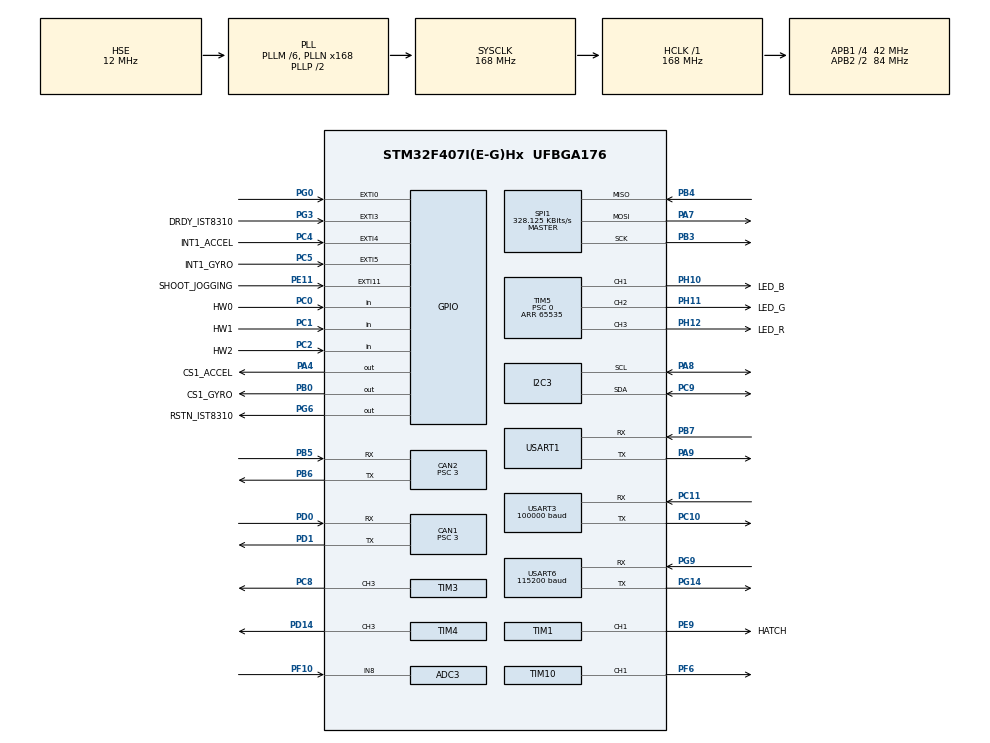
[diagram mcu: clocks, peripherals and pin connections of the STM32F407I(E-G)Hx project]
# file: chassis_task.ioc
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ADC1.Channel-0\#ChannelRegularConversion=ADC_CHANNEL_TEMPSENSOR
ADC1.NbrOfConversionFlag=1
ADC1.Rank-0\#ChannelRegularConversion=1
ADC1.SamplingTime-0\#ChannelRegularConversion=ADC_SAMPLETIME_3CYCLES
ADC1.master=1
ADC3.Channel-0\#ChannelRegularConversion=ADC_CHANNEL_8
ADC3.NbrOfConversionFlag=1
ADC3.Rank-0\#ChannelRegularConversion=1
ADC3.SamplingTime-0\#ChannelRegularConversion=ADC_SAMPLETIME_3CYCLES
CAN1.BS1=CAN_BS1_10TQ
CAN1.BS2=CAN_BS2_3TQ
CAN1.CalculateTimeQuantum=71.42857142857143
CAN1.Prescaler=3
CAN2.BS1=CAN_BS1_10TQ
CAN2.BS2=CAN_BS2_3TQ
CAN2.CalculateTimeQuantum=71.42857142857143
CAN2.Prescaler=3
Dma.Request0=USART3_RX
Dma.Request1=SPI1_RX
Dma.Request2=SPI1_TX
Dma.Request3=USART1_RX
Dma.Request4=USART6_RX
Dma.Request5=USART6_TX
Dma.SPI1_RX.1.Direction=DMA_PERIPH_TO_MEMORY
Dma.SPI1_RX.1.FIFOMode=DMA_FIFOMODE_DISABLE
Dma.SPI1_RX.1.Instance=DMA2_Stream2
Dma.SPI1_RX.1.MemDataAlignment=DMA_MDATAALIGN_BYTE
Dma.SPI1_RX.1.MemInc=DMA_MINC_ENABLE
Dma.SPI1_RX.1.Mode=DMA_NORMAL
Dma.SPI1_RX.1.PeriphDataAlignment=DMA_PDATAALIGN_BYTE
Dma.SPI1_RX.1.PeriphInc=DMA_PINC_DISABLE
Dma.SPI1_RX.1.Priority=DMA_PRIORITY_VERY_HIGH
Dma.SPI1_TX.2.Direction=DMA_MEMORY_TO_PERIPH
Dma.SPI1_TX.2.FIFOMode=DMA_FIFOMODE_DISABLE
Dma.SPI1_TX.2.Instance=DMA2_Stream3
Dma.SPI1_TX.2.MemDataAlignment=DMA_MDATAALIGN_BYTE
Dma.SPI1_TX.2.MemInc=DMA_MINC_ENABLE
Dma.SPI1_TX.2.Mode=DMA_NORMAL
Dma.SPI1_TX.2.PeriphDataAlignment=DMA_PDATAALIGN_BYTE
Dma.SPI1_TX.2.PeriphInc=DMA_PINC_DISABLE
Dma.SPI1_TX.2.Priority=DMA_PRIORITY_HIGH
Dma.USART1_RX.3.Direction=DMA_PERIPH_TO_MEMORY
Dma.USART1_RX.3.FIFOMode=DMA_FIFOMODE_DISABLE
Dma.USART1_RX.3.Instance=DMA2_Stream5
Dma.USART1_RX.3.MemDataAlignment=DMA_MDATAALIGN_BYTE
Dma.USART1_RX.3.MemInc=DMA_MINC_ENABLE
Dma.USART1_RX.3.Mode=DMA_NORMAL
Dma.USART1_RX.3.PeriphDataAlignment=DMA_PDATAALIGN_BYTE
Dma.USART1_RX.3.PeriphInc=DMA_PINC_DISABLE
Dma.USART1_RX.3.Priority=DMA_PRIORITY_HIGH
Dma.USART3_RX.0.Direction=DMA_PERIPH_TO_MEMORY
Dma.USART3_RX.0.FIFOMode=DMA_FIFOMODE_DISABLE
Dma.USART3_RX.0.Instance=DMA1_Stream1
Dma.USART3_RX.0.MemDataAlignment=DMA_MDATAALIGN_BYTE
Dma.USART3_RX.0.MemInc=DMA_MINC_ENABLE
Dma.USART3_RX.0.Mode=DMA_NORMAL
Dma.USART3_RX.0.PeriphDataAlignment=DMA_PDATAALIGN_BYTE
Dma.USART3_RX.0.PeriphInc=DMA_PINC_DISABLE
Dma.USART3_RX.0.Priority=DMA_PRIORITY_HIGH
Dma.USART6_RX.4.Direction=DMA_PERIPH_TO_MEMORY
Dma.USART6_RX.4.FIFOMode=DMA_FIFOMODE_DISABLE
Dma.USART6_RX.4.Instance=DMA2_Stream1
Dma.USART6_RX.4.MemDataAlignment=DMA_MDATAALIGN_BYTE
Dma.USART6_RX.4.MemInc=DMA_MINC_ENABLE
Dma.USART6_RX.4.Mode=DMA_NORMAL
Dma.USART6_RX.4.PeriphDataAlignment=DMA_PDATAALIGN_BYTE
Dma.USART6_RX.4.PeriphInc=DMA_PINC_DISABLE
Dma.USART6_RX.4.Priority=DMA_PRIORITY_HIGH
Dma.USART6_TX.5.Direction=DMA_MEMORY_TO_PERIPH
Dma.USART6_TX.5.FIFOMode=DMA_FIFOMODE_DISABLE
Dma.USART6_TX.5.Instance=DMA2_Stream6
Dma.USART6_TX.5.MemDataAlignment=DMA_MDATAALIGN_BYTE
Dma.USART6_TX.5.MemInc=DMA_MINC_ENABLE
Dma.USART6_TX.5.Mode=DMA_NORMAL
Dma.USART6_TX.5.PeriphDataAlignment=DMA_PDATAALIGN_BYTE
Dma.USART6_TX.5.PeriphInc=DMA_PINC_DISABLE
Dma.USART6_TX.5.Priority=DMA_PRIORITY_MEDIUM
FREERTOS.INCLUDE_eTaskGetState=1
FREERTOS.INCLUDE_pcTaskGetTaskName=1
FREERTOS.INCLUDE_uxTaskGetStackHighWaterMark=1
FREERTOS.INCLUDE_vTaskCleanUpResources=1
FREERTOS.INCLUDE_vTaskDelayUntil=1
FREERTOS.INCLUDE_xEventGroupSetBitFromISR=1
FREERTOS.INCLUDE_xQueueGetMutexHolder=1
FREERTOS.INCLUDE_xSemaphoreGetMutexHolder=1
FREERTOS.INCLUDE_xTaskAbortDelay=1
FREERTOS.INCLUDE_xTaskGetCurrentTaskHandle=1
FREERTOS.INCLUDE_xTaskGetHandle=1
FREERTOS.INCLUDE_xTimerPendFunctionCall=1
FREERTOS.Tasks01=test,24,128,test_task,As weak,NULL,Dynamic,NULL,NULL
FREERTOS.configTOTAL_HEAP_SIZE=24576
I2C3.I2C_Mode=I2C_Fast
Mcu.Family=STM32F4
Mcu.Name=STM32F407I(E-G)Hx
Mcu.Package=UFBGA176
NVIC.CAN1_RX0_IRQn=true\:6\:0\:true\:false\:true\:true\:true\:true\:true
NVIC.CAN2_RX0_IRQn=true\:6\:0\:true\:false\:true\:true\:true\:true\:true
NVIC.DMA1_Stream1_IRQn=true\:5\:0\:true\:false\:false\:true\:false\:false\:true
NVIC.DMA2_Stream1_IRQn=true\:5\:0\:false\:false\:true\:true\:false\:true\:true
NVIC.DMA2_Stream2_IRQn=true\:5\:0\:false\:false\:true\:false\:false\:true\:true
NVIC.DMA2_Stream3_IRQn=true\:5\:0\:false\:false\:true\:true\:false\:true\:true
NVIC.DMA2_Stream5_IRQn=true\:5\:0\:false\:false\:true\:true\:false\:true\:true
NVIC.DMA2_Stream6_IRQn=true\:5\:0\:false\:false\:true\:true\:false\:true\:true
NVIC.EXTI0_IRQn=true\:6\:0\:true\:false\:true\:true\:true\:true\:true
NVIC.EXTI15_10_IRQn=true\:5\:0\:false\:false\:true\:true\:true\:true\:true
NVIC.EXTI3_IRQn=true\:5\:0\:true\:false\:true\:true\:true\:true\:true
NVIC.EXTI4_IRQn=true\:5\:0\:true\:false\:true\:true\:true\:true\:true
NVIC.EXTI9_5_IRQn=true\:5\:0\:true\:false\:true\:true\:true\:true\:true
NVIC.PriorityGroup=NVIC_PRIORITYGROUP_4
NVIC.USART1_IRQn=true\:5\:0\:true\:false\:true\:true\:true\:true\:true
NVIC.USART3_IRQn=true\:4\:0\:true\:false\:false\:false\:true\:true\:true
NVIC.USART6_IRQn=true\:5\:0\:false\:false\:true\:true\:true\:true\:true
PA13.Mode=Serial_Wire
PA13.Signal=SYS_JTMS-SWDIO
PA14.Mode=Serial_Wire
PA14.Signal=SYS_JTCK-SWCLK
PA4.GPIO_Label=CS1_ACCEL
PA4.GPIO_PuPd=GPIO_PULLUP
PA4.GPIO_Speed=GPIO_SPEED_FREQ_HIGH
PA4.PinState=GPIO_PIN_SET
PA4.Signal=GPIO_Output
PA7.Mode=Full_Duplex_Master
PA7.Signal=SPI1_MOSI
PA8.Mode=I2C
PA8.Signal=I2C3_SCL
PA9.Mode=Asynchronous
PA9.Signal=USART1_TX
PB0.GPIO_Label=CS1_GYRO
PB0.GPIO_PuPd=GPIO_PULLUP
PB0.GPIO_Speed=GPIO_SPEED_FREQ_HIGH
PB0.PinState=GPIO_PIN_SET
PB0.Signal=GPIO_Output
PB3.Mode=Full_Duplex_Master
PB3.Signal=SPI1_SCK
PB4.Mode=Full_Duplex_Master
PB4.Signal=SPI1_MISO
PB5.Mode=Slave
PB5.Signal=CAN2_RX
PB6.Mode=Slave
PB6.Signal=CAN2_TX
PB7.Mode=Asynchronous
PB7.Signal=USART1_RX
PC0.GPIO_Label=HW0
PC0.Signal=GPIO_Input
PC1.GPIO_Label=HW1
PC1.Signal=GPIO_Input
PC10.Mode=Asynchronous
PC10.Signal=USART3_TX
PC11.Mode=Asynchronous
PC11.Signal=USART3_RX
PC2.GPIO_Label=HW2
PC2.Signal=GPIO_Input
PC4.GPIO_Label=INT1_ACCEL
PC4.GPIO_ModeDefaultEXTI=GPIO_MODE_IT_FALLING
PC4.GPIO_PuPd=GPIO_PULLUP
PC4.Signal=GPXTI4
PC5.GPIO_Label=INT1_GYRO
PC5.GPIO_ModeDefaultEXTI=GPIO_MODE_IT_FALLING
PC5.GPIO_PuPd=GPIO_PULLUP
PC5.Signal=GPXTI5
PC8.GPIO_PuPd=GPIO_PULLUP
PC8.GPIO_Speed=GPIO_SPEED_FREQ_HIGH
PC8.Signal=S_TIM3_CH3
PC9.Mode=I2C
PC9.Signal=I2C3_SDA
PD0.Mode=Master
PD0.Signal=CAN1_RX
PD1.Mode=Master
PD1.Signal=CAN1_TX
PD14.GPIO_PuPd=GPIO_PULLUP
PD14.GPIO_Speed=GPIO_SPEED_FREQ_HIGH
PD14.Signal=S_TIM4_CH3
PE11.GPIO_Label=SHOOT_JOGGING
PE11.GPIO_ModeDefaultEXTI=GPIO_MODE_IT_FALLING
PE11.GPIO_PuPd=GPIO_PULLUP
PE11.Signal=GPXTI11
PE9.GPIO_Label=HATCH
PE9.Signal=S_TIM1_CH1
PF10.Mode=IN8
PF10.Signal=ADC3_IN8
PF6.GPIO_PuPd=GPIO_PULLUP
PF6.GPIO_Speed=GPIO_SPEED_FREQ_HIGH
PF6.Signal=S_TIM10_CH1
PG0.GPIO_ModeDefaultEXTI=GPIO_MODE_IT_FALLING
PG0.GPIO_PuPd=GPIO_PULLUP
PG0.Signal=GPXTI0
PG14.Mode=Asynchronous
PG14.Signal=USART6_TX
PG3.GPIO_Label=DRDY_IST8310
PG3.GPIO_ModeDefaultEXTI=GPIO_MODE_IT_FALLING
PG3.GPIO_PuPd=GPIO_PULLUP
PG3.Signal=GPXTI3
PG6.GPIO_Label=RSTN_IST8310
PG6.GPIO_PuPd=GPIO_PULLUP
PG6.GPIO_Speed=GPIO_SPEED_FREQ_MEDIUM
PG6.PinState=GPIO_PIN_SET
PG6.Signal=GPIO_Output
PG9.Mode=Asynchronous
PG9.Signal=USART6_RX
PH0-OSC_IN.Mode=HSE-External-Oscillator
PH0-OSC_IN.Signal=RCC_OSC_IN
PH1-OSC_OUT.Mode=HSE-External-Oscillator
PH1-OSC_OUT.Signal=RCC_OSC_OUT
PH10.GPIO_Label=LED_B
PH10.GPIO_PuPd=GPIO_PULLUP
PH10.GPIO_Speed=GPIO_SPEED_FREQ_HIGH
PH10.Signal=S_TIM5_CH1
PH11.GPIO_Label=LED_G
PH11.GPIO_PuPd=GPIO_PULLUP
PH11.GPIO_Speed=GPIO_SPEED_FREQ_HIGH
PH11.Signal=S_TIM5_CH2
PH12.GPIO_Label=LED_R
PH12.GPIO_PuPd=GPIO_PULLUP
PH12.GPIO_Speed=GPIO_SPEED_FREQ_HIGH
PH12.Signal=S_TIM5_CH3
ProjectManager.HeapSize=0x2000
ProjectManager.StackSize=0x2000
ProjectManager.TargetToolchain=MDK-ARM V5.27
RCC.48MHZClocksFreq_Value=48000000
RCC.AHBFreq_Value=168000000
RCC.APB1CLKDivider=RCC_HCLK_DIV4
RCC.APB1Freq_Value=42000000
RCC.APB1TimFreq_Value=84000000
RCC.APB2CLKDivider=RCC_HCLK_DIV2
RCC.APB2Freq_Value=84000000
RCC.APB2TimFreq_Value=168000000
RCC.CortexFreq_Value=168000000
RCC.HCLKFreq_Value=168000000
RCC.HSE_VALUE=12000000
RCC.HSI_VALUE=16000000
RCC.LSE_VALUE=32768
RCC.PLLM=6
RCC.PLLN=168
RCC.PLLQ=7
RCC.PLLSourceVirtual=RCC_PLLSOURCE_HSE
RCC.RCC_RTC_Clock_SourceVirtual=RCC_RTCCLKSOURCE_HSE_DIV30
RCC.RCC_RTC_Clock_Source_FROM_HSE=RCC_RTCCLKSOURCE_HSE_DIV30
RCC.SYSCLKFreq_VALUE=168000000
RCC.SYSCLKSource=RCC_SYSCLKSOURCE_PLLCLK
RCC.VCOOutputFreq_Value=336000000
RTC.AsynchPrediv=124
RTC.SynchPrediv=3199
SH.S_TIM10_CH1.0=TIM10_CH1,PWM Generation1 CH1
SH.S_TIM1_CH1.0=TIM1_CH1,PWM Generation1 CH1
SH.S_TIM3_CH3.0=TIM3_CH3,PWM Generation3 CH3
SH.S_TIM4_CH3.0=TIM4_CH3,PWM Generation3 CH3
SH.S_TIM5_CH1.0=TIM5_CH1,PWM Generation1 CH1
SH.S_TIM5_CH2.0=TIM5_CH2,PWM Generation2 CH2
SH.S_TIM5_CH3.0=TIM5_CH3,PWM Generation3 CH3
SPI1.BaudRatePrescaler=SPI_BAUDRATEPRESCALER_256
SPI1.CLKPhase=SPI_PHASE_2EDGE
SPI1.CLKPolarity=SPI_POLARITY_HIGH
SPI1.CalculateBaudRate=328.125 KBits/s
SPI1.Direction=SPI_DIRECTION_2LINES
SPI1.Mode=SPI_MODE_MASTER
SPI1.VirtualType=VM_MASTER
TIM1.AutoReloadPreload=TIM_AUTORELOAD_PRELOAD_ENABLE
TIM1.Channel-PWM\ Generation1\ CH1=TIM_CHANNEL_1
TIM1.Channel-PWM\ Generation2\ CH2=TIM_CHANNEL_2
TIM1.Period=19999
TIM1.Prescaler=167
TIM1.Pulse-PWM\ Generation1\ CH1=2000
TIM10.Channel=TIM_CHANNEL_1
TIM10.Period=4999
TIM3.Channel-PWM\ Generation3\ CH3=TIM_CHANNEL_3
TIM3.Period=8399
TIM4.Channel-PWM\ Generation3\ CH3=TIM_CHANNEL_3
TIM4.Period=65535
TIM4.Prescaler=167
TIM5.Channel-PWM\ Generation1\ CH1=TIM_CHANNEL_1
TIM5.Channel-PWM\ Generation2\ CH2=TIM_CHANNEL_2
TIM5.Channel-PWM\ Generation3\ CH3=TIM_CHANNEL_3
TIM5.Period=65535
TIM5.Prescaler=0
TIM8.Period=19999
TIM8.Prescaler=167
USART1.VirtualMode=VM_ASYNC
USART3.BaudRate=100000
USART3.Parity=PARITY_EVEN
USART3.VirtualMode=VM_ASYNC
USART6.BaudRate=115200
USART6.VirtualMode=VM_ASYNC
VP_ADC1_TempSens_Input.Mode=IN-TempSens
VP_ADC1_Vref_Input.Mode=IN-Vrefint
VP_FREERTOS_VS_CMSIS_V1.Mode=CMSIS_V1
VP_RTC_VS_RTC_Activate.Mode=RTC_Enabled
VP_TIM10_VS_ClockSourceINT.Mode=Enable_Timer
VP_TIM1_VS_ClockSourceINT.Mode=Internal
VP_TIM3_VS_ClockSourceINT.Mode=Internal
VP_TIM4_VS_ClockSourceINT.Mode=Internal
VP_TIM5_VS_ClockSourceINT.Mode=Internal
VP_TIM8_VS_ClockSourceINT.Mode=Internal
board=custom

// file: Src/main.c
/* USER CODE BEGIN Header */
/**
  ******************************************************************************
  * @file           : main.c
  * @brief          : Main program body
  ******************************************************************************
  * @attention
  *
  * <h2><center>&copy; Copyright (c) 2023 STMicroelectronics.
  * All rights reserved.</center></h2>
  *
  * This software component is licensed by ST under Ultimate Liberty license
  * SLA0044, the "License"; You may not use this file except in compliance with
  * the License. You may obtain a copy of the License at:
  *                             www.st.com/SLA0044
  *
  ******************************************************************************
  */
/* USER CODE END Header */

#include "main.h"
#include "cmsis_os.h"
#include "adc.h"
#include "can.h"
#include "dma.h"
#include "i2c.h"
#include "rtc.h"
#include "spi.h"
#include "tim.h"
#include "usart.h"
#include "gpio.h"

/* USER CODE BEGIN Includes */
#include "remote_control.h"
#include "bsp_can.h"
#include "bsp_delay.h"
#include "aimbot_task.h"
#include "bsp_usart.h"
/* USER CODE END Includes */

void SystemClock_Config(void);
void MX_FREERTOS_Init(void);

int main(void)
{

  /* MCU Configuration--------------------------------------------------------*/

  /* Reset of all peripherals, Initializes the Flash interface and the Systick. */
  HAL_Init();

  /* Configure the system clock */
  SystemClock_Config();

  /* Initialize all configured peripherals */
  MX_GPIO_Init();
  MX_DMA_Init();
  MX_CAN1_Init();
  MX_CAN2_Init();
  MX_SPI1_Init();
  MX_TIM4_Init();
  MX_TIM5_Init();
  MX_USART3_UART_Init();
  MX_TIM8_Init();
  MX_I2C3_Init();
  MX_RTC_Init();
  MX_TIM3_Init();
  MX_TIM10_Init();
  MX_ADC1_Init();
  MX_ADC3_Init();
  MX_USART1_UART_Init();
  MX_USART6_UART_Init();
  MX_TIM1_Init();
  /* USER CODE BEGIN 2 */
	can_filter_init();
	delay_init();
	remote_control_init();
  /* USER CODE END 2 */

  /* Call init function for freertos objects (in freertos.c) */
  MX_FREERTOS_Init();

  /* Start scheduler */
  osKernelStart();

  /* We should never get here as control is now taken by the scheduler */

  /* Infinite loop */
  while (1)
  {

  }
}

void SystemClock_Config(void)
{
  RCC_OscInitTypeDef RCC_OscInitStruct = {0};
  RCC_ClkInitTypeDef RCC_ClkInitStruct = {0};
  RCC_PeriphCLKInitTypeDef PeriphClkInitStruct = {0};

  /** Configure the main internal regulator output voltage
  */
  __HAL_RCC_PWR_CLK_ENABLE();
  __HAL_PWR_VOLTAGESCALING_CONFIG(PWR_REGULATOR_VOLTAGE_SCALE1);
  /** Initializes the CPU, AHB and APB busses clocks
  */
  RCC_OscInitStruct.OscillatorType = RCC_OSCILLATORTYPE_HSE;
  RCC_OscInitStruct.HSEState = RCC_HSE_ON;
  RCC_OscInitStruct.PLL.PLLState = RCC_PLL_ON;
  RCC_OscInitStruct.PLL.PLLSource = RCC_PLLSOURCE_HSE;
  RCC_OscInitStruct.PLL.PLLM = 6;
  RCC_OscInitStruct.PLL.PLLN = 168;
  RCC_OscInitStruct.PLL.PLLP = RCC_PLLP_DIV2;
  RCC_OscInitStruct.PLL.PLLQ = 7;
  if (HAL_RCC_OscConfig(&RCC_OscInitStruct) != HAL_OK)
  {
    Error_Handler();
  }
  /** Initializes the CPU, AHB and APB busses clocks
  */
  RCC_ClkInitStruct.ClockType = RCC_CLOCKTYPE_HCLK|RCC_CLOCKTYPE_SYSCLK
                              |RCC_CLOCKTYPE_PCLK1|RCC_CLOCKTYPE_PCLK2;
  RCC_ClkInitStruct.SYSCLKSource = RCC_SYSCLKSOURCE_PLLCLK;
  RCC_ClkInitStruct.AHBCLKDivider = RCC_SYSCLK_DIV1;
  RCC_ClkInitStruct.APB1CLKDivider = RCC_HCLK_DIV4;
  RCC_ClkInitStruct.APB2CLKDivider = RCC_HCLK_DIV2;

  if (HAL_RCC_ClockConfig(&RCC_ClkInitStruct, FLASH_LATENCY_5) != HAL_OK)
  {
    Error_Handler();
  }
  PeriphClkInitStruct.PeriphClockSelection = RCC_PERIPHCLK_RTC;
  PeriphClkInitStruct.RTCClockSelection = RCC_RTCCLKSOURCE_HSE_DIV30;
  if (HAL_RCCEx_PeriphCLKConfig(&PeriphClkInitStruct) != HAL_OK)
  {
    Error_Handler();
  }
}

void Error_Handler(void)
{
}

/************************ (C) COPYRIGHT STMicroelectronics *****END OF FILE****/

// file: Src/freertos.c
/* USER CODE BEGIN Header */
/**
  ******************************************************************************
  * File Name          : freertos.c
  * Description        : Code for freertos applications
  ******************************************************************************
  * @attention
  *
  * <h2><center>&copy; Copyright (c) 2023 STMicroelectronics.
  * All rights reserved.</center></h2>
  *
  * This software component is licensed by ST under Ultimate Liberty license
  * SLA0044, the "License"; You may not use this file except in compliance with
  * the License. You may obtain a copy of the License at:
  *                             www.st.com/SLA0044
  *
  ******************************************************************************
  */
/* USER CODE END Header */

#include "FreeRTOS.h"
#include "task.h"
#include "main.h"
#include "cmsis_os.h"

/* USER CODE BEGIN Includes */
#include "Chassis_task.h"
#include "aimbot_gimbal.h"
#include "INS_task.h"
#include "aimbot_task.h"
#include "chassis_power_control.h"
#include "chassis_cruise.h"
#include "referee_usart_task.h"
#include "oled_task.h"
/* USER CODE END Includes */

/* USER CODE BEGIN PTD */
//osThreadId calibrate_tast_handle;
osThreadId chassisTaskHandle;
osThreadId gimbalTaskHandle;
osThreadId aimbotTaskHandle;
osThreadId powercontrolTaskHandle;
osThreadId imuTaskHandle;
osThreadId cruiseTaskHandle;
osThreadId referee_usart_task_handle;
osThreadId oled_handle;
/* USER CODE END PTD */

osThreadId testHandle;

void test_task(void const * argument);

void MX_FREERTOS_Init(void); /* (MISRA C 2004 rule 8.1) */

/* GetIdleTaskMemory prototype (linked to static allocation support) */
void vApplicationGetIdleTaskMemory( StaticTask_t **ppxIdleTaskTCBBuffer, StackType_t **ppxIdleTaskStackBuffer, uint32_t *pulIdleTaskStackSize );

/* GetTimerTaskMemory prototype (linked to static allocation support) */
void vApplicationGetTimerTaskMemory( StaticTask_t **ppxTimerTaskTCBBuffer, StackType_t **ppxTimerTaskStackBuffer, uint32_t *pulTimerTaskStackSize );

/* USER CODE BEGIN GET_IDLE_TASK_MEMORY */
static StaticTask_t xIdleTaskTCBBuffer;
static StackType_t xIdleStack[configMINIMAL_STACK_SIZE];

void vApplicationGetIdleTaskMemory( StaticTask_t **ppxIdleTaskTCBBuffer, StackType_t **ppxIdleTaskStackBuffer, uint32_t *pulIdleTaskStackSize )
{
  *ppxIdleTaskTCBBuffer = &xIdleTaskTCBBuffer;
  *ppxIdleTaskStackBuffer = &xIdleStack[0];
  *pulIdleTaskStackSize = configMINIMAL_STACK_SIZE;
  /* place for user code */
}
/* USER CODE END GET_IDLE_TASK_MEMORY */

/* USER CODE BEGIN GET_TIMER_TASK_MEMORY */
static StaticTask_t xTimerTaskTCBBuffer;
static StackType_t xTimerStack[configTIMER_TASK_STACK_DEPTH];

void vApplicationGetTimerTaskMemory( StaticTask_t **ppxTimerTaskTCBBuffer, StackType_t **ppxTimerTaskStackBuffer, uint32_t *pulTimerTaskStackSize )
{
  *ppxTimerTaskTCBBuffer = &xTimerTaskTCBBuffer;
  *ppxTimerTaskStackBuffer = &xTimerStack[0];
  *pulTimerTaskStackSize = configTIMER_TASK_STACK_DEPTH;
  /* place for user code */
}
/* USER CODE END GET_TIMER_TASK_MEMORY */

void MX_FREERTOS_Init(void) {

  /* Create the thread(s) */
  /* definition and creation of test */
  osThreadDef(test, test_task, osPriorityNormal, 0, 128);
  testHandle = osThreadCreate(osThread(test), NULL);

  /* USER CODE BEGIN RTOS_THREADS */
	/* add threads, ... */
	osThreadDef(GimbalTask, gimbal_task, osPriorityHigh, 0, 1024);
	gimbalTaskHandle = osThreadCreate(osThread(GimbalTask), NULL);

	osThreadDef(AimBotTask, aimbot_task, osPriorityAboveNormal, 0, 512);
	aimbotTaskHandle = osThreadCreate(osThread(AimBotTask), NULL);

//	osThreadDef(ChassisTask, chassis_task, osPriorityAboveNormal, 0, 1024);
//	chassisTaskHandle = osThreadCreate(osThread(ChassisTask), NULL);

	osThreadDef(REFEREE, referee_usart_task, osPriorityNormal, 0, 128);
    referee_usart_task_handle = osThreadCreate(osThread(REFEREE), NULL);

//    osThreadDef(OLED, oled_task, osPriorityLow, 0, 256);
//    oled_handle = osThreadCreate(osThread(OLED), NULL);

//	osThreadDef(ChassisCruiseTASK, chassis_cruise_task, osPriorityLow, 0, 128);
//	cruiseTaskHandle = osThreadCreate(osThread(ChassisCruiseTASK), NULL);

	osThreadDef(imuTask, INS_task, osPriorityRealtime, 0, 1024);
	imuTaskHandle = osThreadCreate(osThread(imuTask), NULL);
  /* USER CODE BEGIN RTOS_THREADS */
  /* add threads, ... */
  /* USER CODE END RTOS_THREADS */

}

__weak void test_task(void const * argument)
{

  for(;;)
  {
    osDelay(1);
  }
}

/************************ (C) COPYRIGHT STMicroelectronics *****END OF FILE****/
